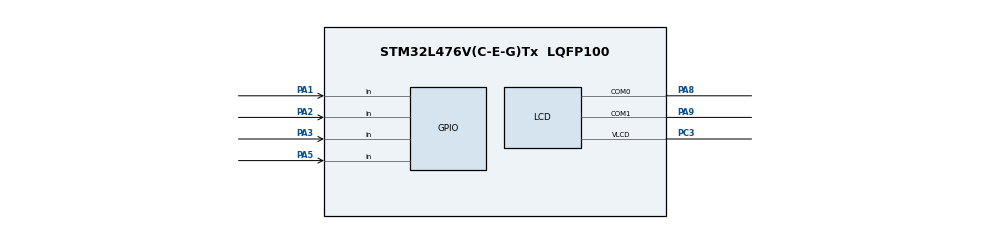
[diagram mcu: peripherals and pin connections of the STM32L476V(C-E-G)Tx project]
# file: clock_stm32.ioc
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Mcu.Family=STM32L4
Mcu.Name=STM32L476V(C-E-G)Tx
Mcu.Package=LQFP100
NVIC.PriorityGroup=NVIC_PRIORITYGROUP_4
PA1.Signal=GPIO_Input
PA2.Signal=GPIO_Input
PA3.Signal=GPIO_Input
PA5.Signal=GPIO_Input
PA8.Mode=1/2 Duty Cycle
PA8.Signal=LCD_COM0
PA9.Mode=1/2 Duty Cycle
PA9.Signal=LCD_COM1
PC3.Mode=1/2 Duty Cycle
PC3.Signal=LCD_VLCD
ProjectManager.HeapSize=0x200
ProjectManager.StackSize=0x400
ProjectManager.TargetToolchain=STM32CubeIDE
RCC.HSE_VALUE=8000000
RCC.HSI_VALUE=16000000
RCC.MSI_VALUE=4000000
RCC.VCOOutputFreq_Value=32000000
VP_RTC_VS_RTC_Activate.Mode=RTC_Enabled
board=custom

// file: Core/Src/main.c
/* USER CODE BEGIN Header */
/**
  ******************************************************************************
  * @file           : main.c
  * @brief          : Main program body
  ******************************************************************************
  * @attention
  *
  * Copyright (c) 2024 STMicroelectronics.
  * All rights reserved.
  *
  * This software is licensed under terms that can be found in the LICENSE file
  * in the root directory of this software component.
  * If no LICENSE file comes with this software, it is provided AS-IS.
  *
  ******************************************************************************
  */
/* USER CODE END Header */
#include "main.h"

/* USER CODE BEGIN Includes */
#include <stdio.h>
#include <stdbool.h>
#include "stm32l476g_discovery_glass_lcd.h"
/* USER CODE END Includes */

LCD_HandleTypeDef hlcd;

RTC_HandleTypeDef hrtc;

void SystemClock_Config(void);
static void MX_GPIO_Init(void);
static void MX_RTC_Init(void);
static void MX_LCD_Init(void);
/* USER CODE BEGIN PFP */
void LCD_DisplayDigit(uint8_t digit, DigitPosition_Typedef pos, bool colon);
RTC_TimeTypeDef clockSetting();

/* USER CODE END PFP */

int main(void)
{

  /* MCU Configuration--------------------------------------------------------*/

  /* Reset of all peripherals, Initializes the Flash interface and the Systick. */
  HAL_Init();

  /* Configure the system clock */
  SystemClock_Config();

  /* Initialize all configured peripherals */
  MX_GPIO_Init();
  MX_RTC_Init();
  //MX_LCD_Init();
  /* USER CODE BEGIN 2 */
  BSP_LCD_GLASS_Init();
  BSP_JOY_Init(JOY_MODE_GPIO);
  BSP_LED_Init(LED4);
  BSP_LCD_GLASS_BarLevelConfig(BATTERYLEVEL_FULL);

  LCD_DisplayDigit(0, 0, false);
  LCD_DisplayDigit(0, 1, true);

  LCD_DisplayDigit(0, 2, false);
  LCD_DisplayDigit(0, 3, true);

  LCD_DisplayDigit(0, 4, false);
  LCD_DisplayDigit(0, 5, false);

  RTC_TimeTypeDef time;
  RTC_DateTypeDef date;

  /* USER CODE END 2 */

  /* Infinite loop */
  /* USER CODE BEGIN WHILE */

  RTC_TimeTypeDef new_time = clockSetting();
  HAL_RTC_SetTime(&hrtc, &new_time, RTC_FORMAT_BIN);

  int alarm = 0;
  RTC_TimeTypeDef alarmTime = {0};

  uint32_t alarmStartTicks = HAL_GetTick();
  int alarmBlink = 0;

  while (1)
  {
    /* USER CODE END WHILE */

    /* USER CODE BEGIN 3 */

	/**  while(setup)
	  {
		  state = BSP_JOY_GetState();

		  switch(state){
		  case JOY_UP:

			  uint8_t maxval = 0;

			  switch(pos){
			  case 0: maxval = 2; break;

			  case 1:
				  if (ar[0] >= 2)
					  maxval = 3;
				  else
					  maxval = 9;
				  break;

			  case 2:
			  case 4: maxval = 5; break;

			  case 3:
			  case 5: maxval = 9; break;
			  }

			  if(ar[pos] < maxval)
				  ar[pos]++;

			  if(ar[0] == 2 && ar[1] > 3)
			  {
				  ar[1] = 3;
				  LCD_DisplayDigit(ar[1], 1, false);
			  }

			  LCD_DisplayDigit(ar[pos], pos, (pos%2 && pos != 5));
			  break;

		  case JOY_DOWN:
			  if(ar[pos] > 0)
			  	  ar[pos]--;

			  LCD_DisplayDigit(ar[pos], pos, (pos%2 && pos != 5));
			  break;

		  case JOY_LEFT:
			  if(pos > 0)
			  {
				  LCD_DisplayDigit(ar[pos], pos, (pos%2 && pos != 5));
				  blink = 0;

				  pos--;
			  }

			  break;

		  case JOY_RIGHT:
			  if(pos < 5)
			  {
				  LCD_DisplayDigit(ar[pos], pos, (pos%2 && pos != 5));
				  blink = 0;

				  pos++;
			  }

			  break;

		  case JOY_SEL:
			  	setup = 0;

				RTC_TimeTypeDef new_time = {0};

				new_time.Hours = ar[0]*10 + ar[1];
				new_time.Minutes = ar[2]*10 + ar[3];
				new_time.Seconds = ar[4]*10 + ar[5];
				HAL_RTC_SetTime(&hrtc, &new_time, RTC_FORMAT_BIN);
			  break;

		  default:
			  break;
		  }
		  HAL_Delay(135);

		  if((HAL_GetTick() - start_ticks) > 500){
			  if(!blink)
				  BSP_LCD_GLASS_DisplayChar("", POINT_OFF, (pos%2 && pos != 5) ? DOUBLEPOINT_ON : DOUBLEPOINT_OFF, pos);
			  else
				  LCD_DisplayDigit(ar[pos], pos, (pos%2 && pos != 5));

			  blink = !blink;

			  start_ticks = HAL_GetTick();
		  }
	  }
**/
	  HAL_RTC_GetTime(&hrtc, &time, RTC_FORMAT_BIN);
	  HAL_RTC_GetDate(&hrtc, &date, RTC_FORMAT_BIN);

	  LCD_DisplayDigit(time.Hours/10, 0, false);
	  LCD_DisplayDigit(time.Hours%10, 1, true);

	  LCD_DisplayDigit(time.Minutes/10, 2, false);
	  LCD_DisplayDigit(time.Minutes%10, 3, true);

	  LCD_DisplayDigit(time.Seconds/10, 4, false);
	  LCD_DisplayDigit(time.Seconds%10, 5, false);
	  if(alarm)
		  BSP_LCD_GLASS_DisplayBar(LCD_BAR_3);

	  if(!alarm && BSP_JOY_GetState() == JOY_DOWN){
		  LCD_DisplayDigit(0, 0, false);
		  LCD_DisplayDigit(0, 1, true);

		  LCD_DisplayDigit(0, 2, false);
		  LCD_DisplayDigit(0, 3, true);

		  LCD_DisplayDigit(0, 4, false);
		  LCD_DisplayDigit(0, 5, false);

		  alarmTime = clockSetting();
		  alarm = 1;
	  }
	  else if((time.Hours >= alarmTime.Hours) && (time.Minutes >= alarmTime.Minutes) && (time.Seconds >= alarmTime.Seconds) && alarm == 1)
	  {
		  for(int i = 0; i < 20;)
		  if((HAL_GetTick() - alarmStartTicks) > 250){
		  			  if(!alarmBlink)
		  				BSP_LED_On(LED4);
		  			  else
		  				BSP_LED_Off(LED4);

		  			  alarmBlink = !alarmBlink;

		  			alarmStartTicks = HAL_GetTick();
		  			  i++;
		  		  }
		  BSP_LED_Off(LED4);
		  BSP_LCD_GLASS_ClearBar(LCD_BAR_0);
		  alarm = 0;
	  }

	  HAL_Delay(10);

  }
  /* USER CODE END 3 */
}

void SystemClock_Config(void)
{
  RCC_OscInitTypeDef RCC_OscInitStruct = {0};
  RCC_ClkInitTypeDef RCC_ClkInitStruct = {0};

  /** Configure the main internal regulator output voltage
  */
  if (HAL_PWREx_ControlVoltageScaling(PWR_REGULATOR_VOLTAGE_SCALE1) != HAL_OK)
  {
    Error_Handler();
  }

  /** Configure LSE Drive Capability
  */
  HAL_PWR_EnableBkUpAccess();
  __HAL_RCC_LSEDRIVE_CONFIG(RCC_LSEDRIVE_LOW);

  /** Initializes the RCC Oscillators according to the specified parameters
  * in the RCC_OscInitTypeDef structure.
  */
  RCC_OscInitStruct.OscillatorType = RCC_OSCILLATORTYPE_LSE|RCC_OSCILLATORTYPE_MSI;
  RCC_OscInitStruct.LSEState = RCC_LSE_ON;
  RCC_OscInitStruct.MSIState = RCC_MSI_ON;
  RCC_OscInitStruct.MSICalibrationValue = 0;
  RCC_OscInitStruct.MSIClockRange = RCC_MSIRANGE_6;
  RCC_OscInitStruct.PLL.PLLState = RCC_PLL_NONE;
  if (HAL_RCC_OscConfig(&RCC_OscInitStruct) != HAL_OK)
  {
    Error_Handler();
  }

  /** Initializes the CPU, AHB and APB buses clocks
  */
  RCC_ClkInitStruct.ClockType = RCC_CLOCKTYPE_HCLK|RCC_CLOCKTYPE_SYSCLK
                              |RCC_CLOCKTYPE_PCLK1|RCC_CLOCKTYPE_PCLK2;
  RCC_ClkInitStruct.SYSCLKSource = RCC_SYSCLKSOURCE_MSI;
  RCC_ClkInitStruct.AHBCLKDivider = RCC_SYSCLK_DIV1;
  RCC_ClkInitStruct.APB1CLKDivider = RCC_HCLK_DIV1;
  RCC_ClkInitStruct.APB2CLKDivider = RCC_HCLK_DIV1;

  if (HAL_RCC_ClockConfig(&RCC_ClkInitStruct, FLASH_LATENCY_0) != HAL_OK)
  {
    Error_Handler();
  }

  /** Enable MSI Auto calibration
  */
  HAL_RCCEx_EnableMSIPLLMode();
}

static void MX_LCD_Init(void)
{

  hlcd.Instance = LCD;
  hlcd.Init.Prescaler = LCD_PRESCALER_1;
  hlcd.Init.Divider = LCD_DIVIDER_16;
  hlcd.Init.Duty = LCD_DUTY_1_2;
  hlcd.Init.Bias = LCD_BIAS_1_4;
  hlcd.Init.VoltageSource = LCD_VOLTAGESOURCE_INTERNAL;
  hlcd.Init.Contrast = LCD_CONTRASTLEVEL_0;
  hlcd.Init.DeadTime = LCD_DEADTIME_0;
  hlcd.Init.PulseOnDuration = LCD_PULSEONDURATION_0;
  hlcd.Init.MuxSegment = LCD_MUXSEGMENT_DISABLE;
  hlcd.Init.BlinkMode = LCD_BLINKMODE_OFF;
  hlcd.Init.BlinkFrequency = LCD_BLINKFREQUENCY_DIV8;
  hlcd.Init.HighDrive = LCD_HIGHDRIVE_DISABLE;
  if (HAL_LCD_Init(&hlcd) != HAL_OK)
  {
    Error_Handler();
  }

}

static void MX_RTC_Init(void)
{

  /** Initialize RTC Only
  */
  hrtc.Instance = RTC;
  hrtc.Init.HourFormat = RTC_HOURFORMAT_24;
  hrtc.Init.AsynchPrediv = 127;
  hrtc.Init.SynchPrediv = 255;
  hrtc.Init.OutPut = RTC_OUTPUT_DISABLE;
  hrtc.Init.OutPutRemap = RTC_OUTPUT_REMAP_NONE;
  hrtc.Init.OutPutPolarity = RTC_OUTPUT_POLARITY_HIGH;
  hrtc.Init.OutPutType = RTC_OUTPUT_TYPE_OPENDRAIN;
  if (HAL_RTC_Init(&hrtc) != HAL_OK)
  {
    Error_Handler();
  }

}

static void MX_GPIO_Init(void)
{
  GPIO_InitTypeDef GPIO_InitStruct = {0};

  /* GPIO Ports Clock Enable */
  __HAL_RCC_GPIOC_CLK_ENABLE();
  __HAL_RCC_GPIOA_CLK_ENABLE();

  /*Configure GPIO pins : PA1 PA2 PA3 PA5 */
  GPIO_InitStruct.Pin = GPIO_PIN_1|GPIO_PIN_2|GPIO_PIN_3|GPIO_PIN_5;
  GPIO_InitStruct.Mode = GPIO_MODE_INPUT;
  GPIO_InitStruct.Pull = GPIO_NOPULL;
  HAL_GPIO_Init(GPIOA, &GPIO_InitStruct);

}

/* USER CODE BEGIN 4 */
void LCD_DisplayDigit(uint8_t digit, DigitPosition_Typedef pos, bool colon)
{
	if(digit >= 10)
		return;

	  char buffer [2];
	  if(colon)
		  BSP_LCD_GLASS_DisplayChar(itoa(digit,buffer,10), POINT_OFF, DOUBLEPOINT_ON, pos);
	  else
		  BSP_LCD_GLASS_DisplayChar(itoa(digit,buffer,10), POINT_OFF, DOUBLEPOINT_OFF, pos);
}

RTC_TimeTypeDef clockSetting(){
	  JOYState_TypeDef state;
	  bool setup = 1;

	  uint8_t ar[6] = {0,0,0,0,0,0};
	  int pos = 0;
	  uint32_t start_ticks = HAL_GetTick();
	  int blink = 0;

	  while(setup)
	  {
		  state = BSP_JOY_GetState();

		  switch(state){
		  case JOY_UP:

			  uint8_t maxval = 0;

			  switch(pos){
			  case 0: maxval = 2; break;

			  case 1:
				  if (ar[0] >= 2)
					  maxval = 3;
				  else
					  maxval = 9;
				  break;

			  case 2:
			  case 4: maxval = 5; break;

			  case 3:
			  case 5: maxval = 9; break;
			  }

			  if(ar[pos] < maxval)
				  ar[pos]++;

			  if(ar[0] == 2 && ar[1] > 3)
			  {
				  ar[1] = 3;
				  LCD_DisplayDigit(ar[1], 1, false);
			  }

			  LCD_DisplayDigit(ar[pos], pos, (pos%2 && pos != 5));
			  break;

		  case JOY_DOWN:
			  if(ar[pos] > 0)
			  	  ar[pos]--;

			  LCD_DisplayDigit(ar[pos], pos, (pos%2 && pos != 5));
			  break;

		  case JOY_LEFT:
			  if(pos > 0)
			  {
				  LCD_DisplayDigit(ar[pos], pos, (pos%2 && pos != 5));
				  blink = 0;

				  pos--;
			  }

			  break;

		  case JOY_RIGHT:
			  if(pos < 5)
			  {
				  LCD_DisplayDigit(ar[pos], pos, (pos%2 && pos != 5));
				  blink = 0;

				  pos++;
			  }

			  break;

		  case JOY_SEL:
			  	setup = 0;

				RTC_TimeTypeDef new_time = {0};

				new_time.Hours = ar[0]*10 + ar[1];
				new_time.Minutes = ar[2]*10 + ar[3];
				new_time.Seconds = ar[4]*10 + ar[5];
				return new_time;
			  break;

		  default:
			  break;
		  }
		  HAL_Delay(135);

		  if((HAL_GetTick() - start_ticks) > 500){
			  if(!blink)
				  BSP_LCD_GLASS_DisplayChar("", POINT_OFF, (pos%2 && pos != 5) ? DOUBLEPOINT_ON : DOUBLEPOINT_OFF, pos);
			  else
				  LCD_DisplayDigit(ar[pos], pos, (pos%2 && pos != 5));

			  blink = !blink;

			  start_ticks = HAL_GetTick();
		  }
	  }
}

/* USER CODE END 4 */

void Error_Handler(void)
{
  __disable_irq();
  while (1)
  {
  }
}
